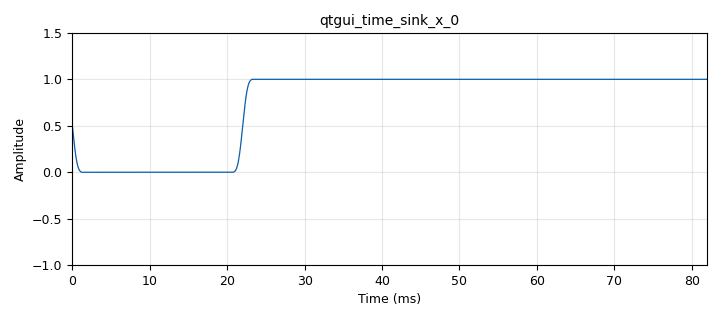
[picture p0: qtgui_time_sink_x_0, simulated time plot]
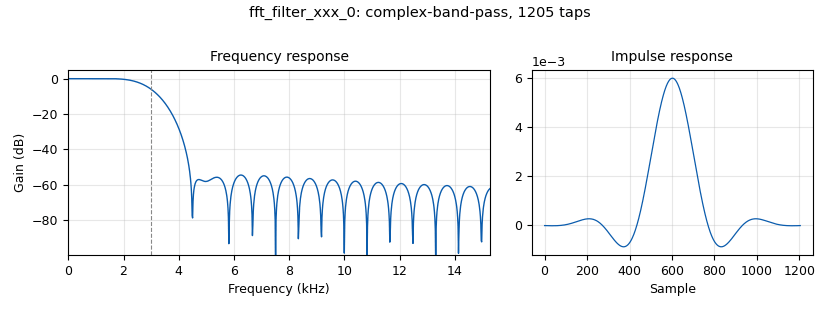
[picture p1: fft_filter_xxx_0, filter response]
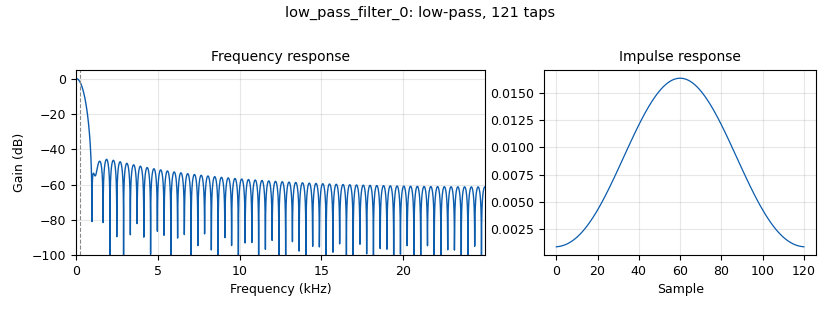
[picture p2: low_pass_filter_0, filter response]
options:
  parameters:
    author: Barry Duggan
    description: RTTY_test_ltrs
    generate_options: qt_gui
    id: RTTY_test_ltrs
    output_language: python
    title: RTTY_test_ltrs
  states: {}

blocks:
- name: baud
  id: variable
  parameters:
    value: 1/0.022
  states: {}
- name: center
  id: variable
  parameters:
    value: '2210'
  states: {}
- name: center_freq
  id: variable_qtgui_range
  parameters:
    label: Tuning
    start: 144.0e6
    step: 1.0e3
    stop: 148.0e6
    value: 144.95e6
  states: {}
- name: channel_filter
  id: variable_band_pass_filter_taps
  parameters:
    gain: '1.0'
    high_cutoff_freq: '3000'
    low_cutoff_freq: '-3000'
    samp_rate: usrp_rate
    type: complex_band_pass
    width: '2000'
    win: firdes.WIN_HAMMING
  states: {}
- name: fsk_deviation
  id: variable
  parameters:
    value: '170'
  states: {}
- name: inp_amp
  id: variable
  parameters:
    value: ((center+(fsk_deviation/2))/vco_max)-vco_offset
  states: {}
- name: repeat
  id: variable
  parameters:
    value: (int)(samp_rate*0.022)
  states: {}
- name: rf_gain
  id: variable_qtgui_range
  parameters:
    label: RF Gain
    rangeType: int
    start: '0'
    step: '1'
    stop: '76'
    value: '1'
  states: {}
- name: samp_rate
  id: variable
  parameters:
    value: '50000'
  states: {}
- name: usrp_rate
  id: variable
  parameters:
    value: '1000000'
  states: {}
- name: vco_max
  id: variable
  parameters:
    value: '2500'
  states: {}
- name: vco_offset
  id: variable
  parameters:
    value: (center-(fsk_deviation/2))/vco_max
  states: {}
- name: blocks_add_const_vxx_0
  id: blocks_add_const_vxx
  parameters:
    comment: vco_offset
    const: vco_offset
    type: float
  states: {}
- name: blocks_multiply_const_vxx_0
  id: blocks_multiply_const_vxx
  parameters:
    comment: inp_amp
    const: inp_amp
    type: float
  states: {}
- name: blocks_repeat_0
  id: blocks_repeat
  parameters:
    interp: repeat
    type: byte
  states: {}
- name: blocks_repeat_0_0
  id: blocks_repeat
  parameters:
    comment: output samp rate = 1M
    interp: (int)(usrp_rate/samp_rate)
    type: complex
  states: {}
- name: blocks_uchar_to_float_0
  id: blocks_uchar_to_float
  parameters: {}
  states: {}
- name: blocks_vco_c_0
  id: blocks_vco_c
  parameters:
    amplitude: '0.75'
    samp_rate: samp_rate
    sensitivity: '15708'
  states: {}
- name: blocks_vector_source_x_0
  id: blocks_vector_source_x
  parameters:
    repeat: 'True'
    type: byte
    vector: (0, 1, 1, 1, 1, 1, 1, 1)
  states: {}
- name: fft_filter_xxx_0
  id: fft_filter_xxx
  parameters:
    decim: '1'
    taps: channel_filter
    type: ccc
  states: {}
- name: low_pass_filter_0
  id: low_pass_filter
  parameters:
    cutoff_freq: '200'
    decim: '1'
    gain: '1'
    samp_rate: samp_rate
    type: fir_filter_fff
    width: '1000'
    win: firdes.WIN_HAMMING
  states: {}
- name: qtgui_time_sink_x_0
  id: qtgui_time_sink_x
  parameters:
    ctrlpanel: 'True'
    size: '4096'
    srate: samp_rate
    tr_level: '0.5'
    tr_mode: qtgui.TRIG_MODE_NORM
    tr_slope: qtgui.TRIG_SLOPE_NEG
    type: float
    ymax: '1.5'
  states: {}
- name: uhd_usrp_sink_0
  id: uhd_usrp_sink
  parameters:
    ant0: TX/RX
    bw0: '200000'
    center_freq0: center_freq
    dev_args: '""'
    gain0: rf_gain
    len_tag_name: ''
    samp_rate: usrp_rate
    sync: sync
    type: fc32
  states: {}
- name: virtual_sink_0
  id: virtual_sink
  parameters:
    stream_id: '"xmt_data"'
  states: {}
- name: virtual_source_0
  id: virtual_source
  parameters:
    stream_id: '"xmt_data"'
  states: {}

connections:
- [blocks_add_const_vxx_0, '0', blocks_vco_c_0, '0']
- [blocks_multiply_const_vxx_0, '0', blocks_add_const_vxx_0, '0']
- [blocks_repeat_0, '0', blocks_uchar_to_float_0, '0']
- [blocks_repeat_0_0, '0', fft_filter_xxx_0, '0']
- [blocks_uchar_to_float_0, '0', virtual_sink_0, '0']
- [blocks_vco_c_0, '0', blocks_repeat_0_0, '0']
- [blocks_vector_source_x_0, '0', blocks_repeat_0, '0']
- [fft_filter_xxx_0, '0', uhd_usrp_sink_0, '0']
- [low_pass_filter_0, '0', blocks_multiply_const_vxx_0, '0']
- [low_pass_filter_0, '0', qtgui_time_sink_x_0, '0']
- [virtual_source_0, '0', low_pass_filter_0, '0']

metadata:
  file_format: 1
